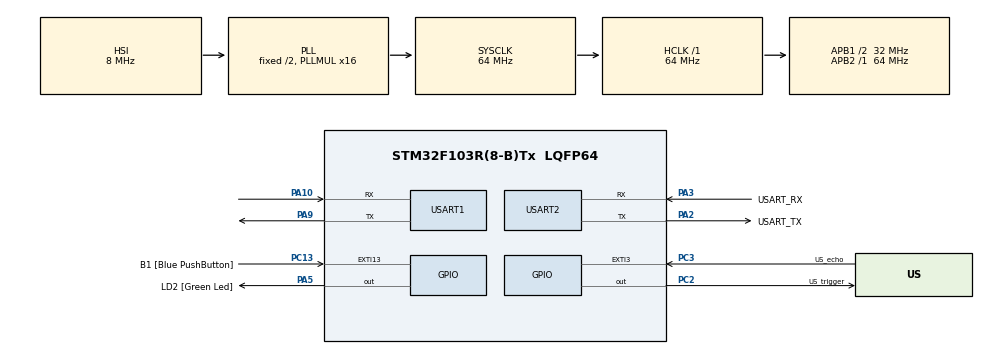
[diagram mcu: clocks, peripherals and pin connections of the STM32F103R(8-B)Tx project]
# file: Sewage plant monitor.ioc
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FREERTOS.Tasks01=defaultTask,0,128,StartDefaultTask,Default
Mcu.Family=STM32F1
Mcu.Name=STM32F103R(8-B)Tx
Mcu.Package=LQFP64
NVIC.EXTI3_IRQn=true\:5\:0\:false\:false\:true\:true
NVIC.PriorityGroup=NVIC_PRIORITYGROUP_4
NVIC.TIM1_UP_IRQn=true\:0\:0\:false\:false\:true\:false
NVIC.TIM2_IRQn=true\:5\:0\:false\:false\:true\:true
NVIC.TimeBase=TIM1_UP_IRQn
NVIC.TimeBaseIP=TIM1
NVIC.USART1_IRQn=true\:5\:0\:false\:false\:true\:true
NVIC.USART2_IRQn=true\:5\:0\:false\:false\:true\:true
PA10.Mode=Asynchronous
PA10.Signal=USART1_RX
PA13.GPIO_Label=TMS
PA13.Mode=Serial_Wire
PA13.Signal=SYS_JTMS-SWDIO
PA14.GPIO_Label=TCK
PA14.Mode=Serial_Wire
PA14.Signal=SYS_JTCK-SWCLK
PA2.GPIO_Label=USART_TX
PA2.GPIO_Mode=GPIO_MODE_AF_PP
PA2.GPIO_PuPd=GPIO_NOPULL
PA2.GPIO_Speed=GPIO_SPEED_FREQ_LOW
PA2.Mode=Asynchronous
PA2.Signal=USART2_TX
PA3.GPIO_Label=USART_RX
PA3.GPIO_Mode=GPIO_MODE_AF_PP
PA3.GPIO_PuPd=GPIO_NOPULL
PA3.GPIO_Speed=GPIO_SPEED_FREQ_LOW
PA3.Mode=Asynchronous
PA3.Signal=USART2_RX
PA5.GPIO_Label=LD2 [Green Led]
PA5.GPIO_ModeDefaultOutputPP=GPIO_MODE_OUTPUT_PP
PA5.GPIO_PuPd=GPIO_NOPULL
PA5.GPIO_Speed=GPIO_SPEED_FREQ_LOW
PA5.Signal=GPIO_Output
PA9.Mode=Asynchronous
PA9.Signal=USART1_TX
PB3.GPIO_Label=SWO
PB3.Signal=SYS_JTDO-TRACESWO
PC13-TAMPER-RTC.GPIO_Label=B1 [Blue PushButton]
PC13-TAMPER-RTC.GPIO_ModeDefaultEXTI=GPIO_MODE_EVT_RISING
PC13-TAMPER-RTC.GPIO_PuPd=GPIO_NOPULL
PC13-TAMPER-RTC.Signal=GPXTI13
PC14-OSC32_IN.Signal=RCC_OSC32_IN
PC15-OSC32_OUT.Signal=RCC_OSC32_OUT
PC2.GPIO_Label=US_trigger
PC2.GPIO_Speed=GPIO_SPEED_FREQ_HIGH
PC2.Signal=GPIO_Output
PC3.GPIO_Label=US_echo
PC3.GPIO_ModeDefaultEXTI=GPIO_MODE_IT_RISING_FALLING
PC3.GPIO_PuPd=GPIO_PULLDOWN
PC3.Signal=GPXTI3
PD0-OSC_IN.Signal=RCC_OSC_IN
PD1-OSC_OUT.Signal=RCC_OSC_OUT
ProjectManager.HeapSize=0x200
ProjectManager.StackSize=0x400
ProjectManager.TargetToolchain=SW4STM32
RCC.AHBFreq_Value=64000000
RCC.APB1CLKDivider=RCC_HCLK_DIV2
RCC.APB1Freq_Value=32000000
RCC.APB1TimFreq_Value=64000000
RCC.APB2Freq_Value=64000000
RCC.APB2TimFreq_Value=64000000
RCC.HCLKFreq_Value=64000000
RCC.PLLMUL=RCC_PLL_MUL16
RCC.SYSCLKFreq_VALUE=64000000
RCC.SYSCLKSource=RCC_SYSCLKSOURCE_PLLCLK
RCC.USBFreq_Value=64000000
TIM2.Period=625
TIM2.Prescaler=0
VP_FREERTOS_VS_ENABLE.Mode=Enabled
VP_SYS_VS_tim1.Mode=TIM1
VP_TIM2_VS_ClockSourceINT.Mode=Internal
board=NUCLEO-F103RB

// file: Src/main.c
/**
  ******************************************************************************
  * File Name          : main.c
  * Description        : Main program body
  ******************************************************************************
  *
  * Copyright (c) 2016 STMicroelectronics International N.V.
  * All rights reserved.
  *
  * Redistribution and use in source and binary forms, with or without
  * modification, are permitted, provided that the following conditions are met:
  *
  * 1. Redistribution of source code must retain the above copyright notice,
  *    this list of conditions and the following disclaimer.
  * 2. Redistributions in binary form must reproduce the above copyright notice,
  *    this list of conditions and the following disclaimer in the documentation
  *    and/or other materials provided with the distribution.
  * 3. Neither the name of STMicroelectronics nor the names of other
  *    contributors to this software may be used to endorse or promote products
  *    derived from this software without specific written permission.
  * 4. This software, including modifications and/or derivative works of this
  *    software, must execute solely and exclusively on microcontroller or
  *    microprocessor devices manufactured by or for STMicroelectronics.
  * 5. Redistribution and use of this software other than as permitted under
  *    this license is void and will automatically terminate your rights under
  *    this license.
  *
  * THIS SOFTWARE IS PROVIDED BY STMICROELECTRONICS AND CONTRIBUTORS "AS IS"
  * AND ANY EXPRESS, IMPLIED OR STATUTORY WARRANTIES, INCLUDING, BUT NOT
  * LIMITED TO, THE IMPLIED WARRANTIES OF MERCHANTABILITY, FITNESS FOR A
  * PARTICULAR PURPOSE AND NON-INFRINGEMENT OF THIRD PARTY INTELLECTUAL PROPERTY
  * RIGHTS ARE DISCLAIMED TO THE FULLEST EXTENT PERMITTED BY LAW. IN NO EVENT
  * SHALL STMICROELECTRONICS OR CONTRIBUTORS BE LIABLE FOR ANY DIRECT, INDIRECT,
  * INCIDENTAL, SPECIAL, EXEMPLARY, OR CONSEQUENTIAL DAMAGES (INCLUDING, BUT NOT
  * LIMITED TO, PROCUREMENT OF SUBSTITUTE GOODS OR SERVICES; LOSS OF USE, DATA,
  * OR PROFITS; OR BUSINESS INTERRUPTION) HOWEVER CAUSED AND ON ANY THEORY OF
  * LIABILITY, WHETHER IN CONTRACT, STRICT LIABILITY, OR TORT (INCLUDING
  * NEGLIGENCE OR OTHERWISE) ARISING IN ANY WAY OUT OF THE USE OF THIS SOFTWARE,
  * EVEN IF ADVISED OF THE POSSIBILITY OF SUCH DAMAGE.
  *
  ******************************************************************************
  */
#include "main.h"
#include "stm32f1xx_hal.h"
#include "cmsis_os.h"

/* USER CODE BEGIN Includes */
#include "jsn-sr04t.h"

/* USER CODE END Includes */

TIM_HandleTypeDef htim2;

UART_HandleTypeDef huart1;
UART_HandleTypeDef huart2;

osThreadId defaultTaskHandle;

/* USER CODE BEGIN PV */
/* Private variables ---------------------------------------------------------*/
jsn_sr04t_desc_t usonic_sensor;

/* USER CODE END PV */

void SystemClock_Config(void);
void Error_Handler(void);
static void MX_GPIO_Init(void);
static void MX_TIM2_Init(void);
static void MX_USART1_UART_Init(void);
static void MX_USART2_UART_Init(void);
void StartDefaultTask(void const * argument);

/* USER CODE BEGIN PFP */
/* Private function prototypes -----------------------------------------------*/

/* USER CODE END PFP */

/* USER CODE BEGIN 0 */
unsigned int JSN_GPIO_Get_value_wrapper(void* GPIO_Port, void* GPIO_Pin) {
	return HAL_GPIO_ReadPin((GPIO_TypeDef*)GPIO_Port, (uint16_t*)GPIO_Pin);
}

void JSN_GPIO_Set_value_wrapper(void* GPIO_Port, void* GPIO_Pin, unsigned int value) {
	HAL_GPIO_WritePin((GPIO_TypeDef*)GPIO_Port, (uint16_t*)GPIO_Pin, value);
}

void HAL_GPIO_EXTI_Callback(uint16_t GPIO_Pin) {
	if (GPIO_Pin == US_echo_Pin) {
		JSN_GPIO_EXTI_callback(&usonic_sensor);
	}
}

/* USER CODE END 0 */

int main(void)
{

  /* MCU Configuration----------------------------------------------------------*/

  /* Reset of all peripherals, Initializes the Flash interface and the Systick. */
  HAL_Init();

  /* Configure the system clock */
  SystemClock_Config();

  /* Initialize all configured peripherals */
  MX_GPIO_Init();
  MX_TIM2_Init();
  MX_USART1_UART_Init();
  MX_USART2_UART_Init();

  /* USER CODE BEGIN 2 */
  HAL_GPIO_WritePin(US_trigger_GPIO_Port, US_trigger_Pin, GPIO_PIN_RESET);
  JSN_Init(&usonic_sensor, (void*)US_trigger_GPIO_Port, (void*)US_trigger_Pin, (void*)US_echo_GPIO_Port, (void*)US_echo_Pin);
  /* USER CODE END 2 */

  /* Create the thread(s) */
  /* definition and creation of defaultTask */
  osThreadDef(defaultTask, StartDefaultTask, osPriorityNormal, 0, 128);
  defaultTaskHandle = osThreadCreate(osThread(defaultTask), NULL);

  /* Start scheduler */
  osKernelStart();

  /* We should never get here as control is now taken by the scheduler */

  /* Infinite loop */
  /* USER CODE BEGIN WHILE */
  uint8_t buffer[128];
  int text_len;
  jsn_sr04t_ret_val_t ret_val;
  jsn_sr04t_state_t state;

  printf("Hello.\r\n");

  while (1)
  {
	  if ((ret_val = JSN_Measure(&usonic_sensor)) != JSN_SUCCESS) {
		  text_len = snprintf(&buffer, 127, "Starting measuring failed: %d.\r\n", ret_val);
		  HAL_UART_Transmit(&huart2, buffer, text_len, 1000);
	  }

	  while(1) {
		  state = JSN_GetState(&usonic_sensor);
		  if (state == JSN_FINISHED) {
			  text_len = snprintf(&buffer, 127, "Distance: %d cm.\r\n", JSN_GetDistance_cm(&usonic_sensor));
			  HAL_UART_Transmit(&huart2, buffer, text_len, 1000);
			  break;
		  }
		  else if (state == JSN_FAILURE){
			  text_len = snprintf(&buffer, 127, "Measuring failed.\r\n");
			  HAL_UART_Transmit(&huart2, buffer, text_len, 1000);
			  break;
		  }
	  }
	  volatile int i;
	  for (i = 0; i < 100000; i++) ;

  /* USER CODE END WHILE */

  }

}

/** System Clock Configuration
*/
void SystemClock_Config(void)
{

  RCC_OscInitTypeDef RCC_OscInitStruct;
  RCC_ClkInitTypeDef RCC_ClkInitStruct;

    /**Initializes the CPU, AHB and APB busses clocks
    */
  RCC_OscInitStruct.OscillatorType = RCC_OSCILLATORTYPE_HSI;
  RCC_OscInitStruct.HSIState = RCC_HSI_ON;
  RCC_OscInitStruct.HSICalibrationValue = 16;
  RCC_OscInitStruct.PLL.PLLState = RCC_PLL_ON;
  RCC_OscInitStruct.PLL.PLLSource = RCC_PLLSOURCE_HSI_DIV2;
  RCC_OscInitStruct.PLL.PLLMUL = RCC_PLL_MUL16;
  if (HAL_RCC_OscConfig(&RCC_OscInitStruct) != HAL_OK)
  {
    Error_Handler();
  }

    /**Initializes the CPU, AHB and APB busses clocks
    */
  RCC_ClkInitStruct.ClockType = RCC_CLOCKTYPE_HCLK|RCC_CLOCKTYPE_SYSCLK
                              |RCC_CLOCKTYPE_PCLK1|RCC_CLOCKTYPE_PCLK2;
  RCC_ClkInitStruct.SYSCLKSource = RCC_SYSCLKSOURCE_PLLCLK;
  RCC_ClkInitStruct.AHBCLKDivider = RCC_SYSCLK_DIV1;
  RCC_ClkInitStruct.APB1CLKDivider = RCC_HCLK_DIV2;
  RCC_ClkInitStruct.APB2CLKDivider = RCC_HCLK_DIV1;

  if (HAL_RCC_ClockConfig(&RCC_ClkInitStruct, FLASH_LATENCY_2) != HAL_OK)
  {
    Error_Handler();
  }

    /**Configure the Systick interrupt time
    */
  HAL_SYSTICK_Config(HAL_RCC_GetHCLKFreq()/1000);

    /**Configure the Systick
    */
  HAL_SYSTICK_CLKSourceConfig(SYSTICK_CLKSOURCE_HCLK);

  /* SysTick_IRQn interrupt configuration */
  HAL_NVIC_SetPriority(SysTick_IRQn, 15, 0);
}

/* TIM2 init function */
static void MX_TIM2_Init(void)
{

  TIM_ClockConfigTypeDef sClockSourceConfig;
  TIM_MasterConfigTypeDef sMasterConfig;

  htim2.Instance = TIM2;
  htim2.Init.Prescaler = 0;
  htim2.Init.CounterMode = TIM_COUNTERMODE_UP;
  htim2.Init.Period = 625;
  htim2.Init.ClockDivision = TIM_CLOCKDIVISION_DIV1;
  if (HAL_TIM_Base_Init(&htim2) != HAL_OK)
  {
    Error_Handler();
  }

  sClockSourceConfig.ClockSource = TIM_CLOCKSOURCE_INTERNAL;
  if (HAL_TIM_ConfigClockSource(&htim2, &sClockSourceConfig) != HAL_OK)
  {
    Error_Handler();
  }

  sMasterConfig.MasterOutputTrigger = TIM_TRGO_RESET;
  sMasterConfig.MasterSlaveMode = TIM_MASTERSLAVEMODE_DISABLE;
  if (HAL_TIMEx_MasterConfigSynchronization(&htim2, &sMasterConfig) != HAL_OK)
  {
    Error_Handler();
  }

}

/* USART1 init function */
static void MX_USART1_UART_Init(void)
{

  huart1.Instance = USART1;
  huart1.Init.BaudRate = 115200;
  huart1.Init.WordLength = UART_WORDLENGTH_8B;
  huart1.Init.StopBits = UART_STOPBITS_1;
  huart1.Init.Parity = UART_PARITY_NONE;
  huart1.Init.Mode = UART_MODE_TX_RX;
  huart1.Init.HwFlowCtl = UART_HWCONTROL_NONE;
  huart1.Init.OverSampling = UART_OVERSAMPLING_16;
  if (HAL_UART_Init(&huart1) != HAL_OK)
  {
    Error_Handler();
  }

}

/* USART2 init function */
static void MX_USART2_UART_Init(void)
{

  huart2.Instance = USART2;
  huart2.Init.BaudRate = 115200;
  huart2.Init.WordLength = UART_WORDLENGTH_8B;
  huart2.Init.StopBits = UART_STOPBITS_1;
  huart2.Init.Parity = UART_PARITY_NONE;
  huart2.Init.Mode = UART_MODE_TX_RX;
  huart2.Init.HwFlowCtl = UART_HWCONTROL_NONE;
  huart2.Init.OverSampling = UART_OVERSAMPLING_16;
  if (HAL_UART_Init(&huart2) != HAL_OK)
  {
    Error_Handler();
  }

}

/** Configure pins as
        * Analog
        * Input
        * Output
        * EVENT_OUT
        * EXTI
*/
static void MX_GPIO_Init(void)
{

  GPIO_InitTypeDef GPIO_InitStruct;

  /* GPIO Ports Clock Enable */
  __HAL_RCC_GPIOC_CLK_ENABLE();
  __HAL_RCC_GPIOD_CLK_ENABLE();
  __HAL_RCC_GPIOA_CLK_ENABLE();
  __HAL_RCC_GPIOB_CLK_ENABLE();

  /*Configure GPIO pin : B1_Pin */
  GPIO_InitStruct.Pin = B1_Pin;
  GPIO_InitStruct.Mode = GPIO_MODE_EVT_RISING;
  GPIO_InitStruct.Pull = GPIO_NOPULL;
  HAL_GPIO_Init(B1_GPIO_Port, &GPIO_InitStruct);

  /*Configure GPIO pin : US_trigger_Pin */
  GPIO_InitStruct.Pin = US_trigger_Pin;
  GPIO_InitStruct.Mode = GPIO_MODE_OUTPUT_PP;
  GPIO_InitStruct.Speed = GPIO_SPEED_FREQ_HIGH;
  HAL_GPIO_Init(US_trigger_GPIO_Port, &GPIO_InitStruct);

  /*Configure GPIO pin : US_echo_Pin */
  GPIO_InitStruct.Pin = US_echo_Pin;
  GPIO_InitStruct.Mode = GPIO_MODE_IT_RISING_FALLING;
  GPIO_InitStruct.Pull = GPIO_PULLDOWN;
  HAL_GPIO_Init(US_echo_GPIO_Port, &GPIO_InitStruct);

  /*Configure GPIO pin : LD2_Pin */
  GPIO_InitStruct.Pin = LD2_Pin;
  GPIO_InitStruct.Mode = GPIO_MODE_OUTPUT_PP;
  GPIO_InitStruct.Speed = GPIO_SPEED_FREQ_LOW;
  HAL_GPIO_Init(LD2_GPIO_Port, &GPIO_InitStruct);

  /*Configure GPIO pin Output Level */
  HAL_GPIO_WritePin(US_trigger_GPIO_Port, US_trigger_Pin, GPIO_PIN_RESET);

  /*Configure GPIO pin Output Level */
  HAL_GPIO_WritePin(LD2_GPIO_Port, LD2_Pin, GPIO_PIN_RESET);

  /* EXTI interrupt init*/
  HAL_NVIC_SetPriority(EXTI3_IRQn, 5, 0);
  HAL_NVIC_EnableIRQ(EXTI3_IRQn);

}

/* USER CODE BEGIN 4 */

void HAL_TIMEx_BreakCallback(TIM_HandleTypeDef *htim) {
	HAL_TIM_Base_Stop_IT(htim);
}

/* USER CODE END 4 */

/* StartDefaultTask function */
void StartDefaultTask(void const * argument)
{

  for(;;)
  {
    osDelay(1);
  }
}

void HAL_TIM_PeriodElapsedCallback(TIM_HandleTypeDef *htim)
{
/* USER CODE BEGIN Callback 0 */
	JSN_10us_timer_callback(&usonic_sensor);
/* USER CODE END Callback 0 */
  if (htim->Instance == TIM1) {
    HAL_IncTick();
  }
}

void Error_Handler(void)
{
  while(1)
  {
  }
}

/************************ (C) COPYRIGHT STMicroelectronics *****END OF FILE****/
